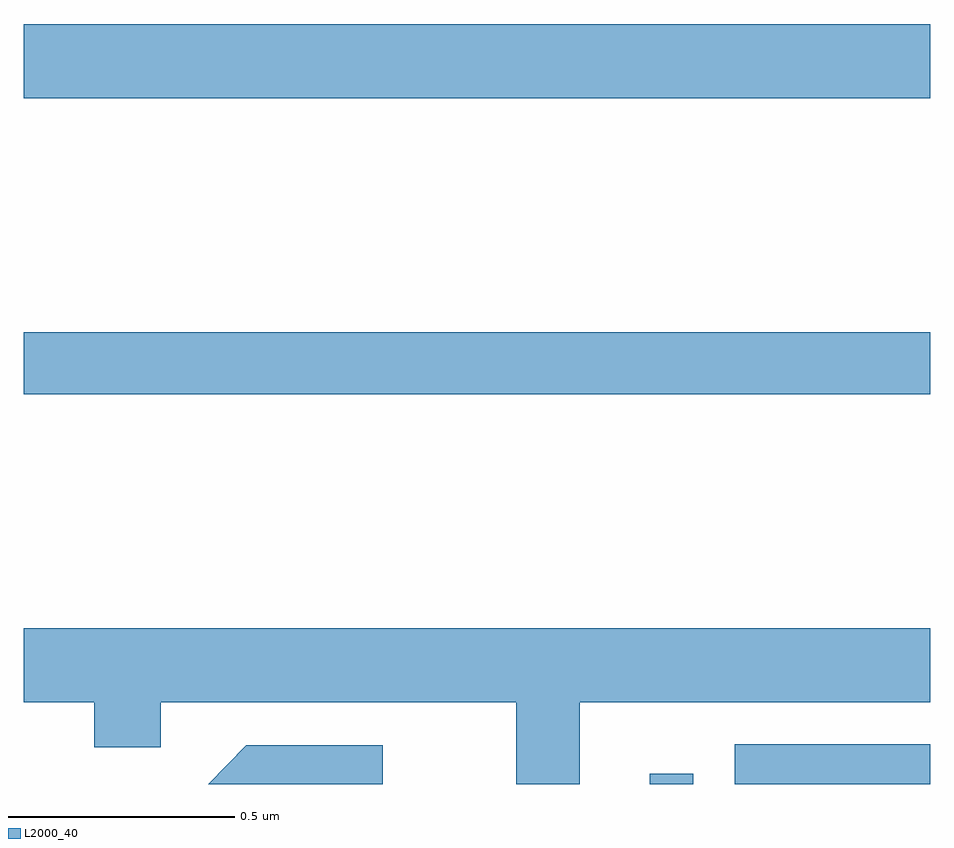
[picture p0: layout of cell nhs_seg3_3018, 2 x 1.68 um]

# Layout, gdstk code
import gdstk
lib = gdstk.Library(unit=1e-6, precision=1e-09)
def R(c, l, rs):  # rectangles x0, y0, x1, y1
    for r in rs: c.add(gdstk.rectangle(r[:2], r[2:], *l))
def P(c, l, *ps):  # polygons
    for p in ps: c.add(gdstk.Polygon(p, *l))
L2000_40 = (2000, 40)

nhs_seg3_3018 = lib.new_cell('nhs_seg3_3018')
R(nhs_seg3_3018, L2000_40, [(149.381,703.4,149.477,703.423), (149.568,703.4,150,703.488), (148,704.26,150,704.396), (148,704.912,150,705.076)])
P(nhs_seg3_3018, L2000_40, [(149.227,703.58),(150,703.58),(150,703.744),(148,703.744),(148,703.58),(148.156,703.58),(148.156,703.481),(148.303,703.481),(148.303,703.58),(149.087,703.58),(149.087,703.4),(149.227,703.4)],
  [(148.792,703.485),(148.491,703.485),(148.407,703.4),(148.792,703.4)])

lib.write_gds('nhs_seg3_3018.gds')
